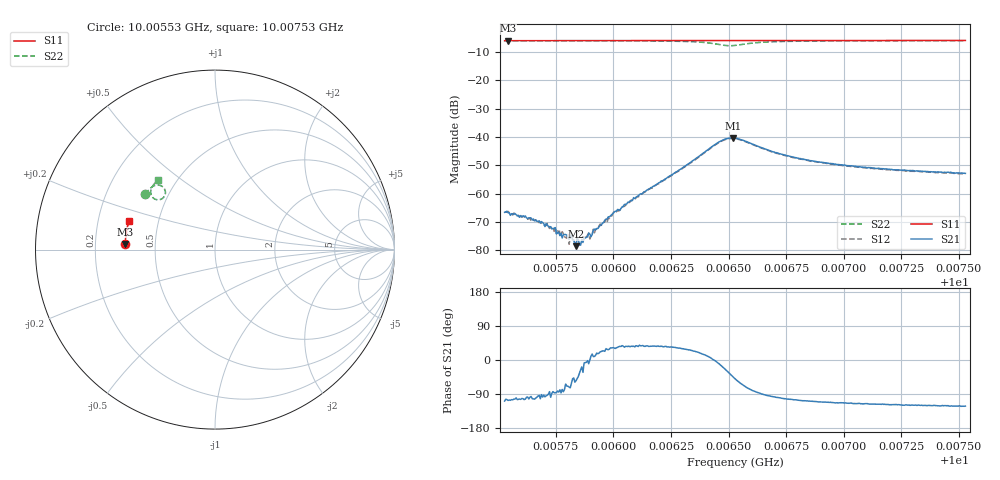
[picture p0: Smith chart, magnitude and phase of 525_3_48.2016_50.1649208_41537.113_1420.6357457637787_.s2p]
#  HZ  S  RI  R  50.00
! Rohde & Schwarz Vector Network Analyzer
! Rohde-Schwarz,ZNB20-2Port,1311601062101988,3.16
! Created: UTC 3/20/2024, 11:59:39 AM
! freq[Hz]  re:S11  im:S11  re:S21  im:S21  re:S12  im:S12  re:S22  im:S22
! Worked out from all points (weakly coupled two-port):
!   401 points, 10.00553 GHz to 10.00753 GHz, reference 50 ohm
!   highest |S21| = -40.36 dB at 10.00652 GHz (marker M1); lowest = -78.6 dB at 10.00584 GHz (marker M2)
!   lowest |S11| = -6.0 dB at 10.00554 GHz (marker M3), VSWR 3.01, Z = 16.6 + j1.42 ohm
!   |S11| at or under -10 dB: nowhere
!   |S22| runs from -7.8 to -6.0 dB; largest |S21 - S12| = 0.00062
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1.0005527e10  -0.5003 0.0308  -0.000146 -0.000444  -8.25e-05 -0.000468  -0.3896 0.3079
1.0005542e10  -0.5002 0.0319  -0.000132 -0.000439  -8.37e-05 -0.000477  -0.3889 0.3089
1.0005688e10  -0.4998 0.0413  -7.76e-06 -0.000321  1.53e-05 -0.0003  -0.3823 0.3175
1.0005738e10  -0.4995 0.0447  2.73e-05 -0.000242  3.58e-05 -0.000245  -0.3797 0.3206
1.0005768e10  -0.4995 0.0466  3.52e-05 -0.000178  6.58e-05 -0.000213  -0.3783 0.3224
1.0005798e10  -0.4993 0.0484  6.67e-05 -0.000173  4.58e-05 -0.000156  -0.3768 0.3243
1.0005838e10  -0.4993 0.0512  6.84e-05 -9.62e-05  0.000118 -8.61e-05  -0.3746 0.3268
1.0005843e10  -0.4992 0.0515  0.000105 -0.00012  0.000131 -0.000105  -0.3743 0.3271
1.0005863e10  -0.499 0.0527  0.000147 -4.86e-05  0.000139 -2.58e-05  -0.3733 0.3284
1.0005883e10  -0.4991 0.0541  0.000168 -1.83e-05  0.000171 5.89e-06  -0.3722 0.3296
1.0005908e10  -0.4988 0.0557  0.000183 5.1e-05  0.000189 3.68e-05  -0.3707 0.3313
1.0005933e10  -0.4988 0.0572  0.000232 6.9e-05  0.000235 9.59e-05  -0.3693 0.333
1.0005983e10  -0.4985 0.0606  0.000338 0.000187  0.00032 0.00017  -0.366 0.3362
1.0006008e10  -0.4984 0.062  0.000421 0.000246  0.000412 0.000262  -0.3642 0.3378
1.0006198e10  -0.4969 0.0744  0.00126 0.000914  0.00119 0.000915  -0.3468 0.3516
1.0006453e10  -0.4939 0.0908  0.00785 -0.00101  0.0077 -0.00058  -0.2783 0.3311
1.0006518e10  -0.4932 0.0943  0.00693 -0.00664  0.00716 -0.00613  -0.2963 0.2828
1.0006528e10  -0.4933 0.095  0.00617 -0.00721  0.00644 -0.00678  -0.304 0.2792
1.0006693e10  -0.4923 0.1054  -0.000647 -0.00542  -0.000379 -0.0054  -0.3582 0.319
1.0006863e10  -0.4903 0.1163  -0.00123 -0.00358  -0.00107 -0.00355  -0.3515 0.3461
1.0007199e10  -0.4855 0.1376  -0.00127 -0.00238  -0.00111 -0.00241  -0.3333 0.3719
1.0007529e10  -0.4798 0.1581  -0.00119 -0.00194  -0.00109 -0.00195  -0.3159 0.3898
